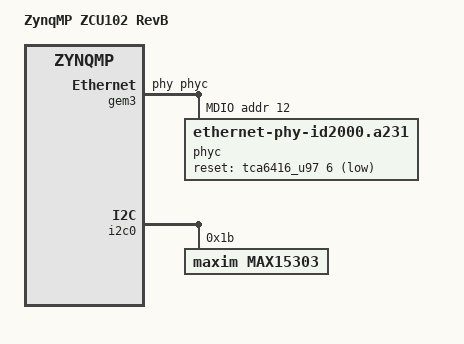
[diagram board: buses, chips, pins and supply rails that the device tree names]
#include "zynqmp-zcu102-revA.dts"
/ {
	model = "ZynqMP ZCU102 RevB";
	compatible = "xlnx,zynqmp-zcu102-revB", "xlnx,zynqmp-zcu102", "xlnx,zynqmp";
};
&gem3 {
	phy-handle = <&phyc>;
	mdio: mdio {
		phyc: ethernet-phy@c {
			#phy-cells = <0x1>;
			compatible = "ethernet-phy-id2000.a231";
			reg = <0xc>;
			ti,rx-internal-delay = <0x8>;
			ti,tx-internal-delay = <0xa>;
			ti,fifo-depth = <0x1>;
			ti,dp83867-rxctrl-strap-quirk;
			reset-gpios = <&tca6416_u97 6 GPIO_ACTIVE_LOW>;
		};
		/delete-node/ ethernet-phy@21;
	};
};
&i2c0 {
	i2c-mux@75 {
		i2c@2 {
			max15303@1b {  
				compatible = "maxim,max15303";
				reg = <0x1b>;
			};
			/delete-node/ max15303@20;
		};
	};
};
